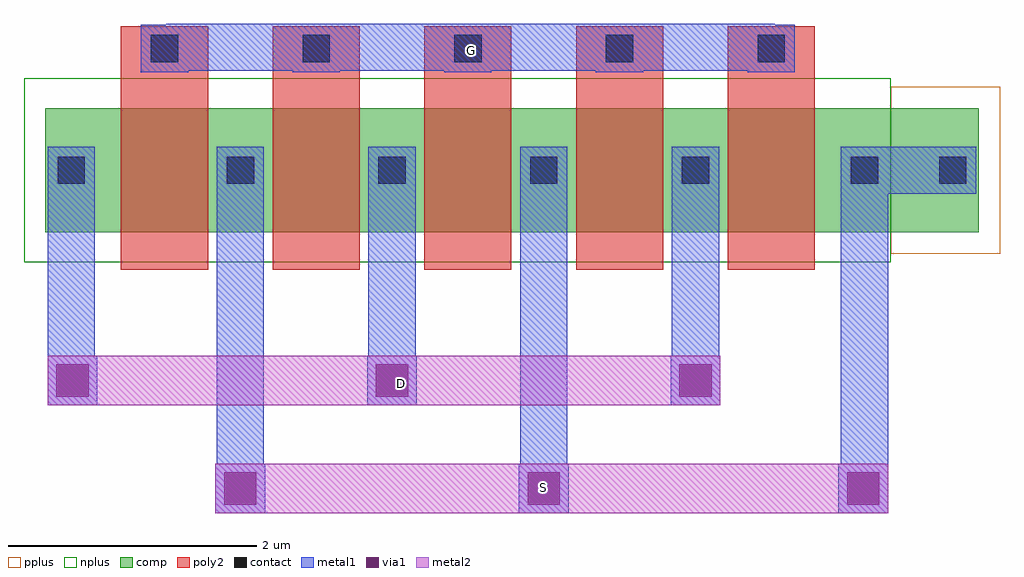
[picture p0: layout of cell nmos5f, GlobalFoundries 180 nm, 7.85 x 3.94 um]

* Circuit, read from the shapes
.subckt nmos5f D G S
XM1 S G D S nfet_03v3 w=1u l=0.7u m=5
.ends

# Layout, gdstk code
import gdstk
lib = gdstk.Library(unit=1e-6, precision=5e-09)
def R(c, l, rs):  # rectangles x0, y0, x1, y1
    for r in rs: c.add(gdstk.rectangle(r[:2], r[2:], *l))
def A(c, l, x, y, w, h, nx, ny, dx, dy):  # array of equal rectangles
    R(c, l, [(x+i*dx, y+j*dy, x+i*dx+w, y+j*dy+h) for i in range(nx) for j in range(ny)])
comp = (22, 0)
poly2 = (30, 0)
pplus = (31, 0)
nplus = (32, 0)
contact = (33, 0)
metal1 = (34, 0)
via1 = (35, 0)
metal2 = (36, 0)

via_dev_2 = lib.new_cell('via_dev$2')
R(via_dev_2, metal1, [(0,0,0.4,0.4)])
R(via_dev_2, via1, [(0.07,0.07,0.33,0.33)])
R(via_dev_2, metal2, [(0,0,0.4,0.4)])

nfet = lib.new_cell('nfet')
R(nfet, comp, [(-0.42,0,0,1), (0,0,5.96,1), (5.96,0,6.38,1), (6.38,0,7.09,1)])
A(nfet, poly2, 0.19, -0.3, 0.7, 1.6, 5, 1, 1.22, 0)
A(nfet, poly2, 0.19, 1.3, 0.7, 0.36, 5, 1, 1.22, 0)
R(nfet, pplus, [(6.38,-0.17,7.26,1.17)])
R(nfet, nplus, [(-0.59,-0.24,6.38,1.24)])
A(nfet, contact, 1.04, 0.39, 0.22, 0.22, 4, 1, 1.22, 0)
A(nfet, contact, 0.43, 1.37, 0.22, 0.22, 5, 1, 1.22, 0)
R(nfet, contact, [(-0.32,0.39,-0.1,0.61), (6.06,0.39,6.28,0.61), (6.77,0.39,6.99,0.61)])
A(nfet, metal1, 0.96, 0.31, 0.38, 0.38, 4, 1, 1.22, 0)
A(nfet, metal1, 0.35, 1.29, 0.38, 0.38, 5, 1, 1.22, 0)
R(nfet, metal1, [(-0.4,0.31,-0.02,0.69), (5.98,0.31,6.36,0.69), (6.69,0.31,7.07,0.69)])

nmos5f = lib.new_cell('nmos5f')
R(nmos5f, metal1, [(0.77,-2.26,1.15,0.455), (3.21,-2.26,3.59,0.455), (5.79,-2.26,6.17,0.455), (-0.59,-1.39,-0.21,0.455), (1.99,-1.39,2.37,0.455), (4.43,-1.39,4.81,0.455), (5.79,0.31,6.755,0.69), (0.365,1.3,5.26,1.68)])
R(nmos5f, metal2, [(1.095,-2.26,6.1,-1.86), (-0.32,-1.39,4.42,-0.99)])
nmos5f.add(gdstk.Reference(via_dev_2, (-0.59,-1.39)))
nmos5f.add(gdstk.Reference(via_dev_2, (0.76,-2.26)))
nmos5f.add(gdstk.Reference(via_dev_2, (1.98,-1.39)))
nmos5f.add(gdstk.Reference(via_dev_2, (4.42,-1.39)))
nmos5f.add(gdstk.Reference(via_dev_2, (3.2,-2.26)))
nmos5f.add(gdstk.Reference(via_dev_2, (5.77,-2.26)))
nmos5f.add(gdstk.Reference(nfet, (-0.19,0)))
nmos5f.add(gdstk.Label('S', (3.4,-2.05), layer=34, texttype=10))
nmos5f.add(gdstk.Label('D', (2.26,-1.215), layer=34, texttype=10))
nmos5f.add(gdstk.Label('G', (2.82,1.46), layer=34, texttype=10))

lib.write_gds('nmos5f.gds')
